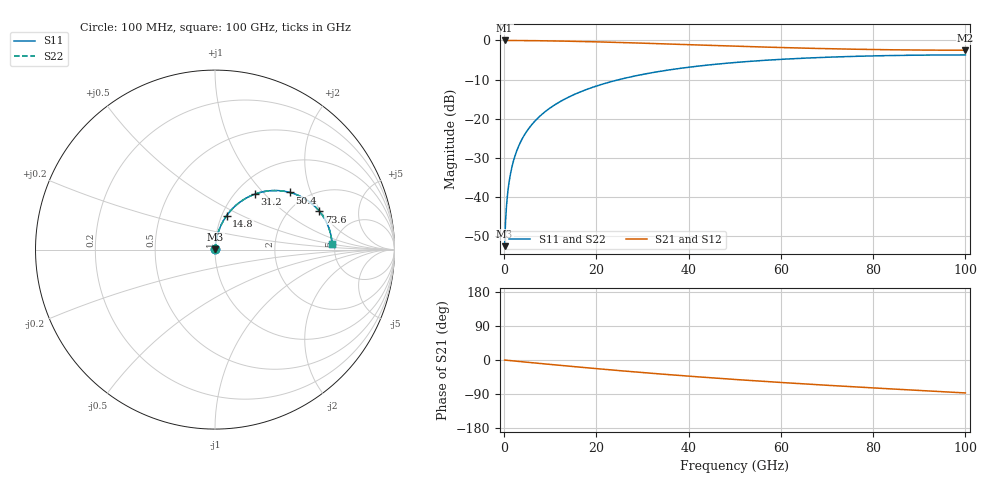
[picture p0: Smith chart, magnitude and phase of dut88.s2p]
! Touchstone file exported from HFSS 2026.1.0
!  File:  C:/ffzhzh/LocalFiles/Ansys_Project_Files/temp_train_RDL_88_1783498904_55944.aedt
!  Generated:  04:22:53 PM Jul  8, 2026
!  Design:  RDL
!  Project:  temp_train_RDL_88_1783498904_55944
! Variables:
!  h_bsmrdl = 2um
!  h_ox = 20um
!  h_rdl = 5um
!  h_sub = 80um
!  h_tmrdl = 3.88um
!  h_tsv = 80um
!  h_via = 3um
!  l_bsmrdl = 300um
!  l_sub = 673.38um
!  l_tmrdl = 273.38um
!  m_sub = 200um
!  pitch = 46.78um
!  r_tsv = 6um
!  s_tmrdl = 10um
!  w_bsmrdl = 18um
!  w_sub = 500um
!  w_tmrdl = 14.73um
!  x_tsv_center1 = 280.745um
!  x_tsv_center2 = 598.745um
!  x_tsv_center3 = 886.855um
!  x_tsv_center4 = 1204.855um
!  x_tsv_center5 = 1492.965um
!  x_tsv_center6 = 1810.965um
# GHz S MA R 50.000000
! Terminal data exported
! Port[1] = TM_RDL1_1_T1
! Port[2] = TM_RDL1_1_T2
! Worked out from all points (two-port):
!   1000 points, 100 MHz to 100 GHz, reference 50 ohm
!   highest |S21| = -0.02 dB at 100 MHz (marker M1); lowest = -2.5 dB at 99.9 GHz (marker M2)
!   |S21| within 3 dB of the highest: start of sweep to end of sweep
!   lowest |S11| = -52.5 dB at 100 MHz (marker M3), VSWR 1.00, Z = 50.2 + j0.15 ohm
!   |S11| at or under -10 dB: start of sweep to 24.93 GHz
!   |S22| runs from -52.5 to -3.7 dB; largest |S21 - S12| = 4.4e-15
!   S11 on the Smith chart (normalised r, x): 100 MHz: 1.00, +0.00; 14.8 GHz: 1.05, +0.41; 31.2 GHz: 1.22, +0.88; 50.4 GHz: 1.64, +1.44; 73.6 GHz: 2.80, +1.94; 100 GHz: 4.71, +0.49
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0.1  0.002368 39.2  0.9982 -0.1  0.9982 -0.1  0.002368 39.2
! Gamma 0 0 0 0
! Port Impedance 50 0 50 0
0.4  0.006202 70.9  0.998 -0.5  0.998 -0.5  0.006202 70.9
0.8  0.01175 78.7  0.9978 -1.0  0.9978 -1.0  0.01175 78.7
1.1  0.01595 80.8  0.9977 -1.3  0.9977 -1.3  0.01595 80.8
1.4  0.02018 82.0  0.9976 -1.7  0.9976 -1.7  0.02018 82.0
2.3  0.03287 83.0  0.997 -2.8  0.997 -2.8  0.03287 83.0
3.6  0.05113 82.6  0.9959 -4.3  0.9959 -4.3  0.05113 82.6
5.5  0.07745 80.9  0.9936 -6.5  0.9936 -6.5  0.07745 80.9
7.9  0.11 78.5  0.9897 -9.3  0.9897 -9.3  0.11 78.5
11  0.1509 75.2  0.9834 -12.9  0.9834 -12.9  0.1509 75.2
14.8  0.1991 71.1  0.9739 -17.1  0.9739 -17.1  0.1991 71.1
16.8  0.2236 69.0  0.9682 -19.3  0.9682 -19.3  0.2236 69.0
23.3  0.2987 62.3  0.947 -26.3  0.947 -26.3  0.2987 62.3
31.2  0.3791 54.5  0.9172 -34.3  0.9172 -34.3  0.3791 54.5
33.4  0.3994 52.4  0.9085 -36.5  0.9085 -36.5  0.3994 52.4
50.1  0.5225 37.7  0.8439 -51.4  0.8439 -51.4  0.5226 37.7
50.4  0.5243 37.4  0.8428 -51.6  0.8428 -51.6  0.5243 37.4
66.7  0.5989 25.0  0.7921 -64.3  0.7921 -64.3  0.599 25.0
73.6  0.6198 20.1  0.7762 -69.2  0.7762 -69.2  0.6198 20.1
83.4  0.6401 13.4  0.7598 -76.0  0.7598 -76.0  0.6402 13.4
99.9  0.6527 2.7  0.7491 -86.9  0.7491 -86.9  0.6527 2.7
100  0.6527 2.6  0.7491 -87.0  0.7491 -87.0  0.6527 2.6
